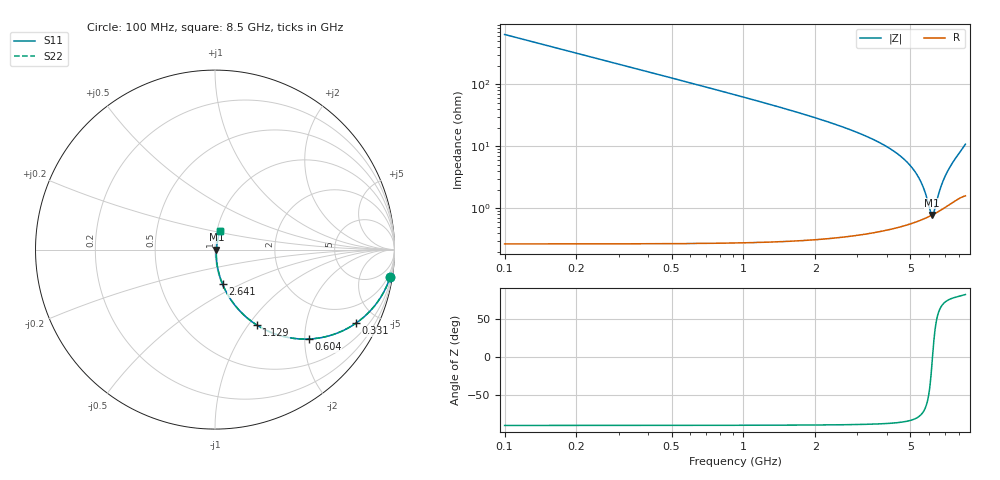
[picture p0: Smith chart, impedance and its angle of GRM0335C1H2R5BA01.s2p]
!Murata Part Number: GRM0335C1H2R5BA01
!These Parameters are Measured in Series Mode Connection
!Data Generated on Mar 30, 2021
!  o--ll--o
!Port1  Port2
!  o------o
!Operation Temp=25[degC], DC Bias Voltage=0[V]
!Freq. Start=100[MHz] Stop=9[GHz] 401[Steps]
# Hz S RI R 50
!Freq.(Hz) S11(Real) S11(Imag) S21(Real) S21(Imag) S12(Real) S12(Imag) S22(Real) S22(Imag)
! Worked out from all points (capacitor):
!   401 points, 100 MHz to 8.5 GHz, reference 50 ohm
!   read as one part in series: C = 2.5 pF near 142 MHz
!   lowest |Z| = 784 mohm at 6.169 GHz (marker M1)
!   series resonance near 6.191 GHz, so ESL is about 260 pH
!   S11 on the Smith chart (normalised r, x): 100 MHz: 1, -13; 331 MHz: 1.01, -3.84; 604 MHz: 1.01, -2.09; 1.129 GHz: 1.01, -1.09; 2.641 GHz: 1.01, -0.40; 8.5 GHz: 1.03, +0.21
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1e8  0.9758 -0.1533  0.0242 0.1533  0.0242 0.1533  0.9758 -0.1533
2.26e8  0.8876 -0.3154  0.1124 0.3154  0.1124 0.3154  0.8876 -0.3154
3.31e8  0.786 -0.4094  0.214 0.4094  0.214 0.4094  0.786 -0.4094
4.57e8  0.6574 -0.4736  0.3426 0.4736  0.3426 0.4736  0.6574 -0.4736
6.04e8  0.522 -0.4982  0.478 0.4982  0.478 0.4982  0.522 -0.4982
8.56e8  0.3488 -0.4747  0.6512 0.4747  0.6512 0.4747  0.3488 -0.4747
1.129e9  0.2315 -0.4192  0.7685 0.4192  0.7685 0.4192  0.2315 -0.4192
1.507e9  0.1397 -0.3431  0.8603 0.3431  0.8603 0.3431  0.1397 -0.3431
2.641e9  0.042 -0.1922  0.958 0.1922  0.958 0.1922  0.042 -0.1922
2.914e9  0.0328 -0.1682  0.9672 0.1682  0.9672 0.1682  0.0328 -0.1682
4.3e9  0.0112 -0.0802  0.9888 0.0802  0.9888 0.0802  0.0112 -0.0802
5.14e9  0.00753 -0.0418  0.9925 0.0418  0.9925 0.0418  0.00753 -0.0418
5.455e9  0.0071 -0.0288  0.9929 0.0288  0.9929 0.0288  0.0071 -0.0288
5.707e9  0.00708 -0.0187  0.9929 0.0187  0.9929 0.0187  0.00708 -0.0187
6.064e9  0.00751 -0.00487  0.9925 0.00487  0.9925 0.00487  0.00751 -0.00487
6.169e9  0.00773 -0.00085  0.9923 0.00085  0.9923 0.00085  0.00773 -0.00085
6.274e9  0.00801 0.00316  0.992 -0.00316  0.992 -0.00316  0.00801 0.00316
6.526e9  0.00885 0.0127  0.9911 -0.0127  0.9911 -0.0127  0.00885 0.0127
6.715e9  0.00967 0.0199  0.9903 -0.0199  0.9903 -0.0199  0.00967 0.0199
7.114e9  0.0119 0.0354  0.9881 -0.0354  0.9881 -0.0354  0.0119 0.0354
7.639e9  0.016 0.0569  0.984 -0.0569  0.984 -0.0569  0.016 0.0569
8.5e9  0.0264 0.1025  0.9736 -0.1025  0.9736 -0.1025  0.0264 0.1025
